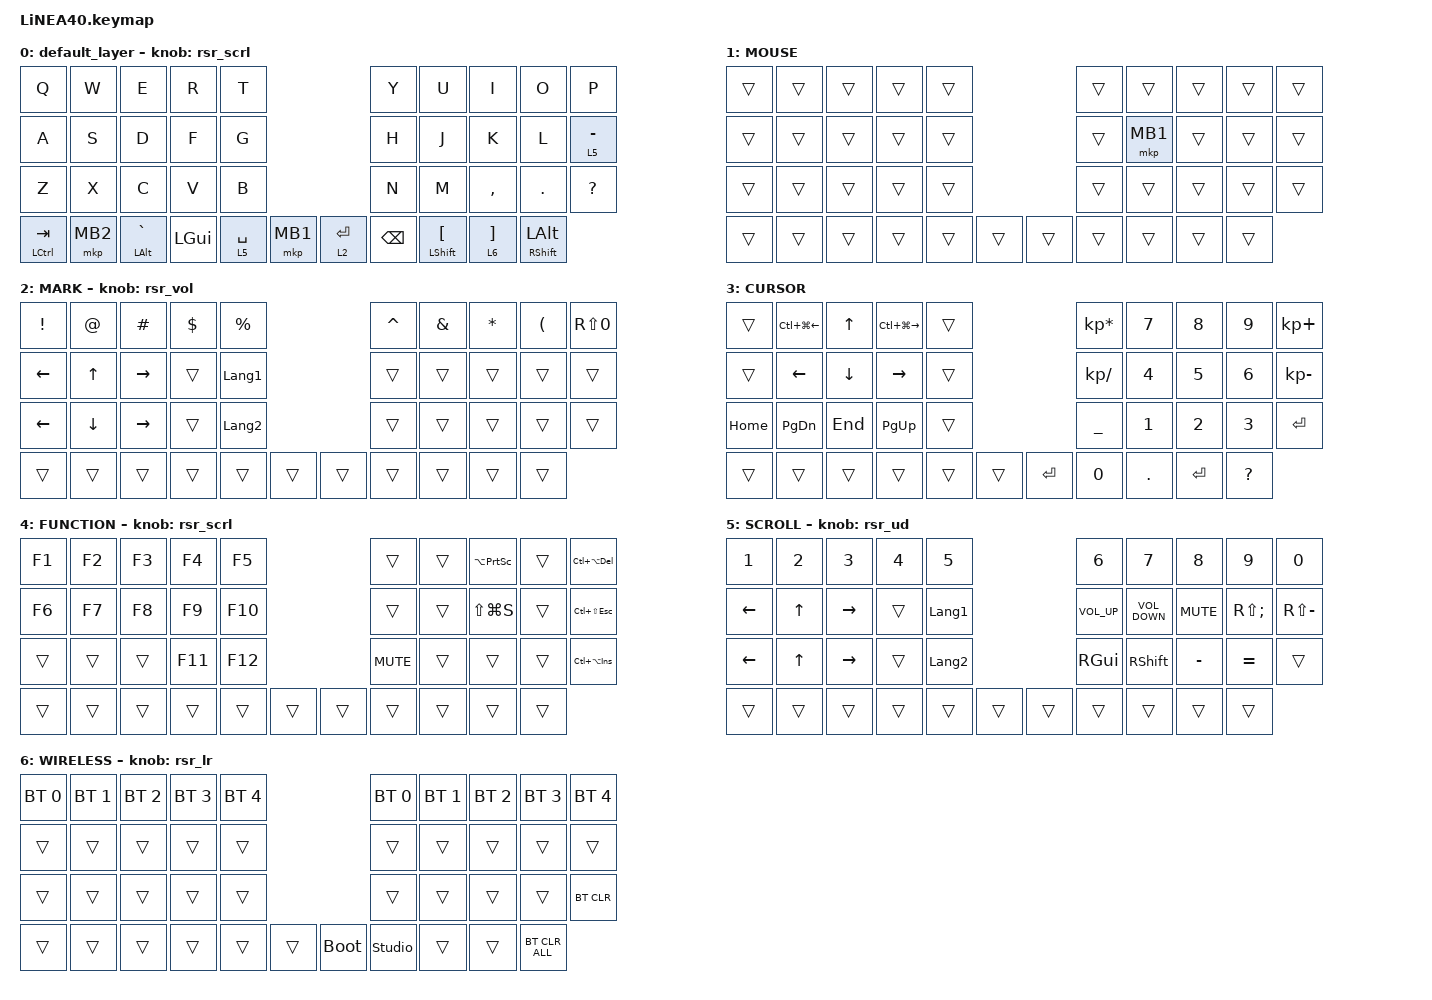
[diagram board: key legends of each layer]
#define ZMK_POINTING_DEFAULT_SCRL_VAL 150

#include <dt-bindings/zmk/input_transform.h>
#include <input/processors.dtsi>
#include <zephyr/dt-bindings/input/input-event-codes.h>
#include <behaviors.dtsi>
#include <dt-bindings/zmk/bt.h>
#include <dt-bindings/zmk/keys.h>
#include <dt-bindings/zmk/pointing.h>
#include <behaviors/runtime-sensor-rotate.dtsi>

#define MOUSE 1
#define MARK 2
#define CURSOR 3
#define FUNCTION 4
#define SCROLL 5
#define WIRELESS 6

//mouse cursol

&mmv {
    delay-ms = <20>;
    trigger-period-ms = <5>;
    time-to-max-speed-ms = <100>;
    acceleration-exponent = <2>;
};

//mouse scroll

&msc {
    delay-ms = <3>;
    trigger-period-ms = <3>;
    time-to-max-speed-ms = <100>;
    acceleration-exponent = <0>;
};

/ {
    input_processors {
        zip_wheel_scaler: zip_wheel_scaler {
            compatible = "zmk,input-processor-scaler";
            #input-processor-cells = <2>;
            type = <INPUT_EV_REL>;
            codes = <INPUT_REL_WHEEL>;
            track-remainders;
        };
    };
};

&msc_input_listener {
    speed_up {
        layers = <FUNCTION>;
        input-processors = <&zip_wheel_scaler 3 1>; //スクロールを3倍速にする
    };
};

&trackball_listener {
    scroller {
        layers = <SCROLL>;
        input-processors =
            <&zip_xy_transform INPUT_TRANSFORM_Y_INVERT>,
            //スクロール方向を逆転,,,,,
            <&zip_xy_to_scroll_mapper>;
    };
};

/ {
    combos {
        compatible = "zmk,combos";

        ZenkakuHankaku {
            bindings = <&kp GRAVE>;
            key-positions = <11 12>;
        };

        alt {
            bindings = <&kp LEFT_ALT>;
            key-positions = <4 3>;
        };

        InsertKey {
            bindings = <&kp INS>;
            key-positions = <6 7>;
        };

        CenterClick {
            bindings = <&mkp MB3>;
            key-positions = <17 16>;
        };

        RightClick {
            bindings = <&mkp MB2>;
            key-positions = <18 17>;
        };

        PrevClick {
            bindings = <&mkp MB4>;
            key-positions = <27 28>;
        };

        ClickNext {
            bindings = <&mkp MB5>;
            key-positions = <26 27>;
        };
    };

    behaviors {
        // ロータリーエンコーダー（DYA Studioから変更可。以下は初期値）
        rsr_scrl: rsr_scrl {
            compatible = "zmk,behavior-runtime-sensor-rotate";
            #sensor-binding-cells = <0>;
            tap-ms = <20>;
            cw-binding = <&msc SCRL_DOWN>;
            ccw-binding = <&msc SCRL_UP>;
        };
        rsr_vol: rsr_vol {
            compatible = "zmk,behavior-runtime-sensor-rotate";
            #sensor-binding-cells = <0>;
            tap-ms = <5>;
            cw-binding = <&kp C_VOLUME_DOWN>;
            ccw-binding = <&kp C_VOLUME_UP>;
        };
        rsr_ud: rsr_ud {
            compatible = "zmk,behavior-runtime-sensor-rotate";
            #sensor-binding-cells = <0>;
            tap-ms = <5>;
            cw-binding = <&kp DOWN_ARROW>;
            ccw-binding = <&kp UP_ARROW>;
        };
        rsr_lr: rsr_lr {
            compatible = "zmk,behavior-runtime-sensor-rotate";
            #sensor-binding-cells = <0>;
            tap-ms = <5>;
            cw-binding = <&kp RIGHT_ARROW>;
            ccw-binding = <&kp LEFT_ARROW>;
        };

        re_kp: sensor_rotate_kp {
            compatible = "zmk,behavior-sensor-rotate-var";
            #sensor-binding-cells = <2>;
            bindings = <&kp>, <&kp>;
        };

        mouse_scrl: mouse_wheel_scrl {
            compatible = "zmk,behavior-sensor-rotate-var";
            #sensor-binding-cells = <2>;
            bindings = <&msc>, <&msc>;

            tap-ms = <20>;
        };
    };

    keymap {
        compatible = "zmk,keymap";

        default_layer {
            bindings = <
&kp Q          &kp W     &kp E               &kp R         &kp T                                 &kp Y          &kp U  &kp I                        &kp O                &kp P
&kp A          &kp S     &kp D               &kp F         &kp G                                 &kp H          &kp J  &kp K                        &kp L                &lt 5 MINUS
&kp Z          &kp X     &kp C               &kp V         &kp B                                 &kp N          &kp M  &kp COMMA                    &kp DOT              &kp QUESTION
&mt LCTRL TAB  &mkp MB2  &mt LEFT_ALT GRAVE  &kp LEFT_GUI  &lt 5 SPACE  &mkp MB1    &lt 2 ENTER  &kp BACKSPACE         &mt LEFT_SHIFT LEFT_BRACKET  &lt 6 RIGHT_BRACKET  &mt RIGHT_SHIFT LEFT_ALT
            >;

            sensor-bindings = <&rsr_scrl>;
        };

        //1

        MOUSE {
            bindings = <
&trans  &trans  &trans  &trans  &trans                    &trans  &trans    &trans  &trans  &trans
&trans  &trans  &trans  &trans  &trans                    &trans  &mkp MB1  &trans  &trans  &trans
&trans  &trans  &trans  &trans  &trans                    &trans  &trans    &trans  &trans  &trans
&trans  &trans  &trans  &trans  &trans  &trans    &trans  &trans            &trans  &trans  &trans
            >;
        };

        //2

        MARK {
            bindings = <
&kp EXCLAMATION  &kp AT        &kp HASH   &kp DOLLAR  &kp PERCENT                       &kp CARET  &kp AMPERSAND  &kp ASTERISK  &kp LEFT_PARENTHESIS  &kp RS(N0)
&kp LEFT_ARROW   &kp UP_ARROW  &kp RIGHT  &trans      &kp LANGUAGE_1                    &trans     &trans         &trans        &trans                &trans
&kp LEFT_ARROW   &kp DOWN      &kp RIGHT  &trans      &kp LANGUAGE_2                    &trans     &trans         &trans        &trans                &trans
&trans           &trans        &trans     &trans      &trans          &trans    &trans  &trans                    &trans        &trans                &trans
            >;

            sensor-bindings = <&rsr_vol>;
        };

        //3

        CURSOR {
            bindings = <
&trans    &kp LC(LG(LEFT_ARROW))  &kp UP_ARROW  &kp LC(LG(RIGHT_ARROW))  &trans                       &kp KP_MULTIPLY  &kp NUMBER_7  &kp NUMBER_8  &kp NUMBER_9  &kp KP_PLUS
&trans    &kp LEFT_ARROW          &kp DOWN      &kp RIGHT_ARROW          &trans                       &kp KP_SLASH     &kp NUMBER_4  &kp NUMBER_5  &kp NUMBER_6  &kp KP_MINUS
&kp HOME  &kp PAGE_DOWN           &kp END       &kp PAGE_UP              &trans                       &kp UNDER        &kp NUMBER_1  &kp NUMBER_2  &kp NUMBER_3  &kp ENTER
&trans    &trans                  &trans        &trans                   &trans  &trans    &kp ENTER  &kp NUMBER_0                   &kp DOT       &kp ENTER     &kp QUESTION
            >;
        };

        //4

        FUNCTION {
            bindings = <
&kp F1  &kp F2  &kp F3  &kp F4   &kp F5                     &trans      &trans  &kp LA(PRINTSCREEN)  &trans  &kp LC(LA(DELETE))
&kp F6  &kp F7  &kp F8  &kp F9   &kp F10                    &trans      &trans  &kp LS(LG(S))        &trans  &kp LC(LS(ESCAPE))
&trans  &trans  &trans  &kp F11  &kp F12                    &kp C_MUTE  &trans  &trans               &trans  &kp LC(LA(INS))
&trans  &trans  &trans  &trans   &trans   &trans    &trans  &trans              &trans               &trans  &trans
            >;

            sensor-bindings = <&rsr_scrl>;
        };

        //5

        SCROLL {
            bindings = <
&kp NUMBER_1    &kp NUMBER_2  &kp NUMBER_3     &kp NUMBER_4  &kp N5                            &kp NUMBER_6     &kp NUMBER_7       &kp NUMBER_8  &kp NUMBER_9       &kp N0
&kp LEFT_ARROW  &kp UP_ARROW  &kp RIGHT_ARROW  &trans        &kp LANGUAGE_1                    &kp C_VOLUME_UP  &kp C_VOLUME_DOWN  &kp K_MUTE    &kp RS(SEMICOLON)  &kp RS(MINUS)
&kp LEFT_ARROW  &kp UP_ARROW  &kp RIGHT_ARROW  &trans        &kp LANGUAGE_2                    &kp RIGHT_GUI    &kp RIGHT_SHIFT    &kp MINUS     &kp EQUAL          &trans
&trans          &trans        &trans           &trans        &trans          &trans    &trans  &trans                              &trans        &trans             &trans
            >;

            sensor-bindings = <&rsr_ud>;
        };

        //6

        WIRELESS {
            bindings = <
&bt BT_SEL 0  &bt BT_SEL 1  &bt BT_SEL 2  &bt BT_SEL 3  &bt BT_SEL 4                         &bt BT_SEL 0    &bt BT_SEL 1  &bt BT_SEL 2  &bt BT_SEL 3  &bt BT_SEL 4
&trans        &trans        &trans        &trans        &trans                               &trans          &trans        &trans        &trans        &trans
&trans        &trans        &trans        &trans        &trans                               &trans          &trans        &trans        &trans        &bt BT_CLR
&trans        &trans        &trans        &trans        &trans        &trans    &bootloader  &studio_unlock                &trans        &trans        &bt BT_CLR_ALL
            >;

            sensor-bindings = <&rsr_lr>;
        };
    };
};
